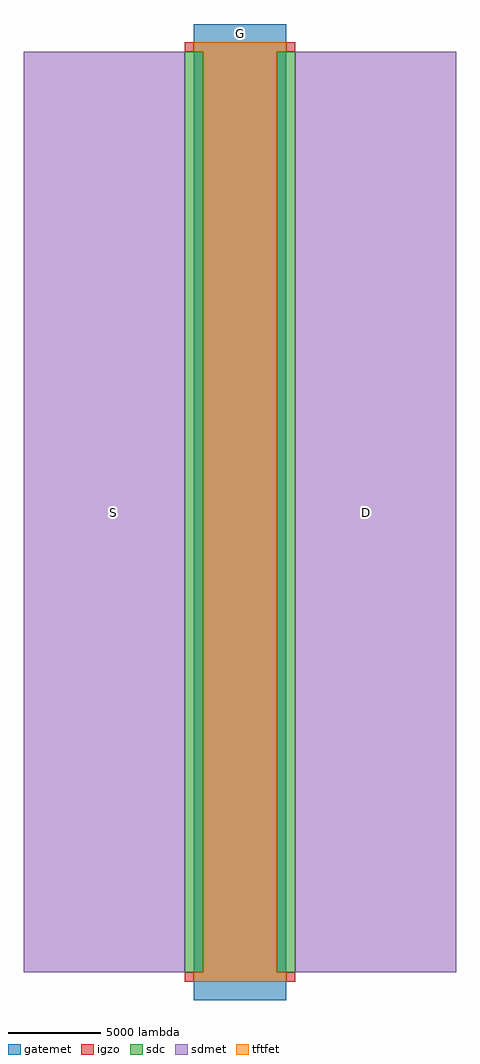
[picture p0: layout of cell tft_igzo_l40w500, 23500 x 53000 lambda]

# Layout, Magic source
magic
tech igzo_mmm_lab
<< igzo >>
rect -3000 25000 -2500 25500
rect 2500 25000 3000 25500
rect -3000 -25500 -2500 -25000
rect 2500 -25500 3000 -25000
<< tftfet >>
rect -2500 25000 2500 25500
rect -2000 -25000 2000 25000
rect -2500 -25500 2500 -25000
<< sdc >>
rect -3000 -25000 -2000 25000
rect 2000 -25000 3000 25000
<< sdmet >>
rect -11750 -25000 -3000 25000
rect 3000 -25000 11750 25000
<< gatemet >>
rect -2500 -26500 2500 26500
<< labels >>
rlabel sdmet s -7363 -488 -6387 488 4 S
port 3 nsew
rlabel sdmet s 6387 -488 7363 488 4 D
port 5 nsew
rlabel gatemet s -488 25512 488 26488 4 G
port 7 nsew
<< end >>
